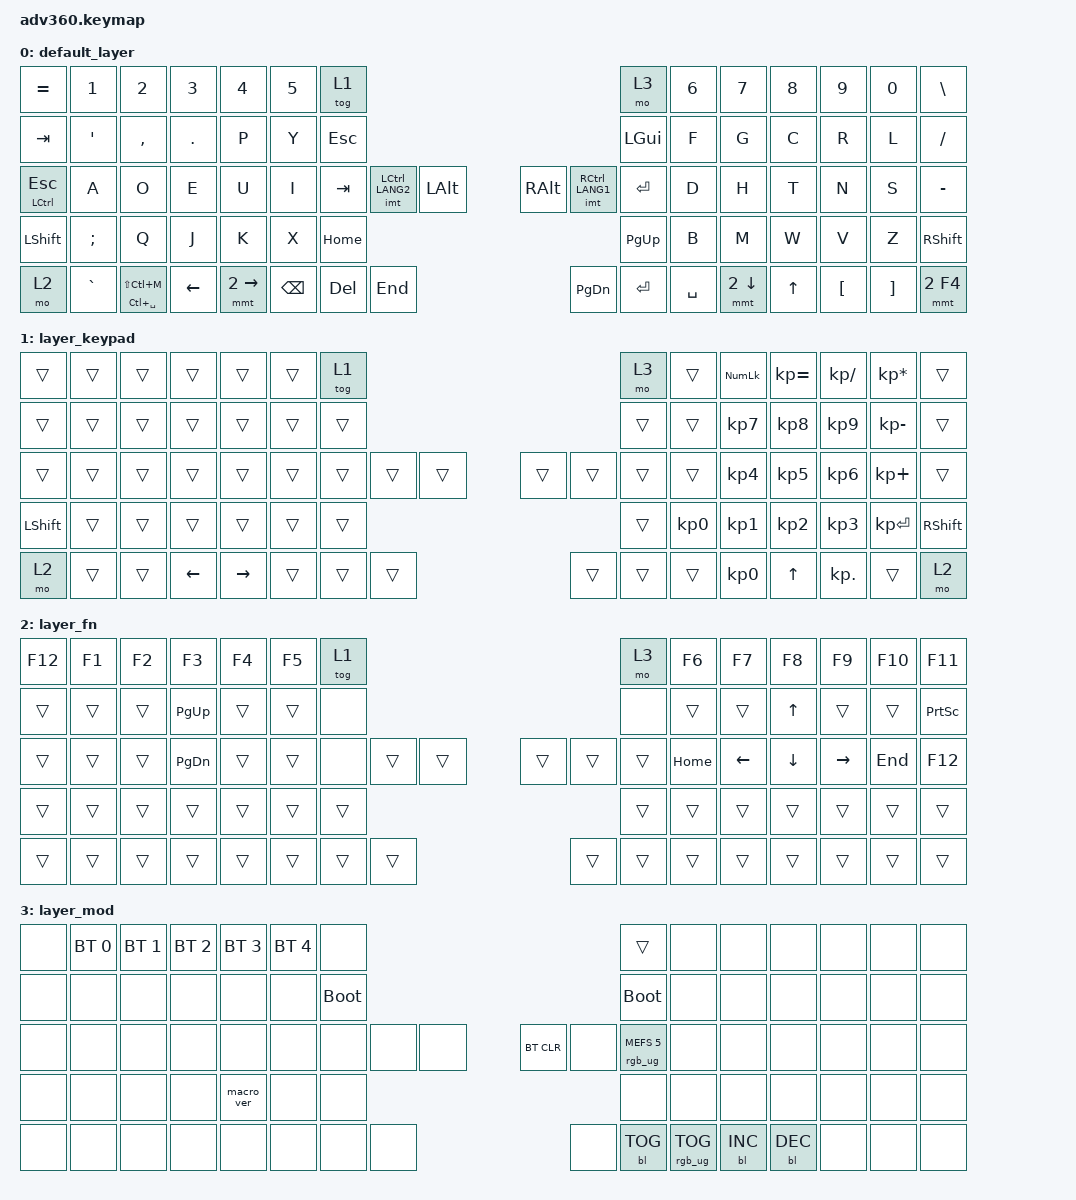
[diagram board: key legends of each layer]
#include <behaviors.dtsi>
#include <dt-bindings/zmk/keys.h>
#include <dt-bindings/zmk/bt.h>
#include <dt-bindings/zmk/rgb.h>
#include <dt-bindings/zmk/backlight.h>

/ {
    behaviors {
      #include "macros.dtsi"
      #include "version.dtsi"
      #ifndef VERSION_MACRO
      macro_ver: macro_ver {
        compatible = "zmk,behavior-macro";
        label = "macro_version";
        #binding-cells = <0>;
        bindings = <&kp RET>;
      };
      #endif
  
      hm: homerow_mods {
          compatible = "zmk,behavior-hold-tap";
          label = "HOMEROW_MODS";
          #binding-cells = <2>;
          tapping-term-ms = <200>;
          quick_tap_ms = <175>;
          flavor = "tap-preferred";
          bindings = <&kp>, <&kp>;
      };
    };

    keymap {
        compatible = "zmk,keymap";


        default_layer {
            bindings = <
 &kp EQUAL   &kp N1    &kp N2    &kp N3     &kp N4  &kp N5              &tog 1                                                                &mo 3  &kp N6  &kp N7     &kp N8             &kp N9           &kp N0         &kp BACKSLASH
   &kp TAB    &kp APOSTROPHE     &kp COMMA     &kp PERIOD      &kp P   &kp Y               &kp ESC                                                                &kp LGUI   &kp F   &kp G      &kp C              &kp R            &kp L  &kp SLASH
  &mt LCTRL ESC    &kp A     &kp O     &kp E      &kp U   &kp I               &kp TAB  &imt LCTRL LANG2  &kp LALT                  &kp RALT  &imt RCTRL LANG1      &kp ENTER   &kp D   &kp H      &kp T              &kp N    &kp S  &kp MINUS
 &kp LSHFT    &kp SEMICOLON     &kp Q     &kp J      &kp K   &kp X                                 &kp HOME                  &kp PG_UP                         &kp B   &kp M  &kp W            &kp V         &kp Z         &kp RSHFT
     &mo 2  &kp GRAVE  &mt LC(SPACE) LS(LC(M)) &kp LEFT  &mmt 2 RIGHT_ARROW                    &kp BSPC    &kp DEL  &kp END                  &kp PG_DN  &kp ENTER  &kp SPACE          &mmt 2 DOWN_ARROW   &kp UP  &kp LBKT  &kp RBKT             &mmt 2 F4
            >;
        };

        layer_keypad {
      bindings = <
        &trans  &trans  &trans          &trans     &trans  &trans            &tog 1                                                         &mo 3  &trans  &kp KP_NUM  &kp KP_EQUAL  &kp KP_DIVIDE  &kp KP_MULTIPLY     &trans
        &trans  &trans  &trans          &trans     &trans  &trans            &trans                                                        &trans  &trans   &kp KP_N7     &kp KP_N8      &kp KP_N9     &kp KP_MINUS     &trans
        &trans  &trans  &trans          &trans     &trans  &trans            &trans  &trans  &trans                  &trans     &trans     &trans  &trans   &kp KP_N4     &kp KP_N5      &kp KP_N6      &kp KP_PLUS     &trans
     &kp LSHFT  &trans  &trans          &trans     &trans  &trans                            &trans                  &trans                        &kp KP_N0   &kp KP_N1     &kp KP_N2      &kp KP_N3     &kp KP_ENTER  &kp RSHFT
         &mo 2  &trans  &trans  &kp LEFT  &kp RIGHT                    &trans  &trans  &trans                  &trans  &trans  &trans              &kp KP_N0      &kp UP     &kp KP_DOT           &trans      &mo 2
      >;        
        };

        layer_fn {
            bindings = <
 &kp F12  &kp F1  &kp F2  &kp F3  &kp F4  &kp F5            &tog 1                                                   &mo 3  &kp F6  &kp F7  &kp F8  &kp F9  &kp F10  &kp F11
 &trans  &trans  &trans  &kp PAGE_UP  &trans  &trans             &none                                                   &none  &trans  &trans  &kp UP_ARROW   &trans   &trans   &kp PRINTSCREEN
 &trans  &trans  &trans  &kp PAGE_DOWN  &trans  &trans             &none  &trans  &trans                  &trans  &trans   &trans  &kp HOME  &kp LEFT_ARROW  &kp DOWN_ARROW  &kp RIGHT_ARROW   &kp END   &kp F12
 &trans  &trans  &trans  &trans  &trans  &trans                            &trans                  &trans                  &trans  &trans  &trans   &trans   &trans   &trans
 &trans  &trans  &trans  &trans  &trans                    &trans  &trans  &trans                  &trans  &trans  &trans          &trans  &trans   &trans   &trans   &trans
            >;
        };

        layer_mod {
            bindings = <
  &none  &bt BT_SEL 0  &bt BT_SEL 1  &bt BT_SEL 2  &bt BT_SEL 3  &bt BT_SEL 4                  &none                                                                          &trans   &none       &none       &none   &none   &none   &none
  &none         &none         &none         &none         &none         &none            &bootloader                                                                     &bootloader   &none       &none       &none   &none   &none   &none
  &none         &none         &none         &none         &none         &none                  &none   &none   &none                  &bt BT_CLR       &none  &rgb_ug RGB_MEFS_CMD 5   &none       &none       &none   &none   &none   &none
  &none         &none         &none         &none    &macro_ver         &none                                  &none                       &none                                       &none       &none       &none   &none   &none   &none
  &none         &none         &none         &none         &none                                &none   &none   &none                       &none  &bl BL_TOG         &rgb_ug RGB_TOG          &bl BL_INC  &bl BL_DEC   &none   &none   &none
            >;
        };

    };
};
